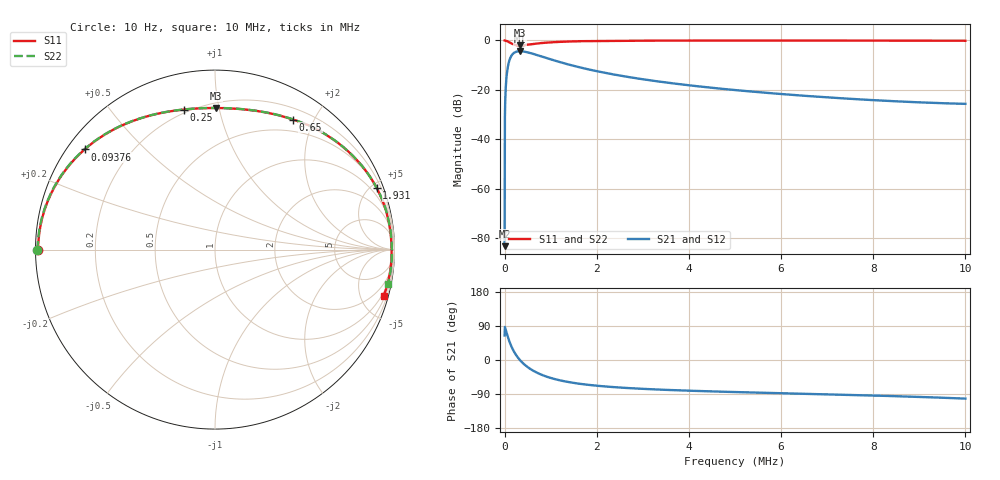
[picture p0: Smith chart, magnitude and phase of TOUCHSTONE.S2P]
!Keysight Technologies,E5061B,MY49912438,B.06.30
!Date: Fri Nov 07 00:14:42 2025
!Data & Calibration Information:
!Freq	S11:SOLT2(ON)	S21:SOLT2(ON)	S12:SOLT2(ON)	S22:SOLT2(ON)
# Hz S RI R 50
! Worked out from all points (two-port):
!   1601 points, 10 Hz to 10 MHz, reference 50 ohm
!   highest |S21| = -4.45 dB at 337.5 kHz (marker M1); lowest = -83.3 dB at 10 Hz (marker M2)
!   |S21| within 3 dB of the highest: 117.3 kHz to 950.8 kHz (833.5 kHz wide, 156 % of centre)
!   lowest |S11| = -2.1 dB at 331.3 kHz (marker M3), VSWR 8.47, Z = 11.7 + j48.9 ohm
!   |S11| at or under -10 dB: nowhere
!   |S22| runs from -2.1 to -0.1 dB; largest |S21 - S12| = 0.0018
!   S11 on the Smith chart (normalised r, x): 10 Hz: 0.01, -0.00; 93.76 kHz: 0.05, +0.34; 250 kHz: 0.18, +0.78; 650 kHz: 0.34, +1.72; 1.931 MHz: 0.56, +5.39; 10 MHz: 0.72, -7.39
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10  -0.9884 -0.00147  2.93e-05 6.19e-05  1.66e-05 -0.000106  -0.9903 -0.00128
56259.94  -0.8754 0.3814  0.0952 0.2184  0.0957 0.2195  -0.8774 0.3817
68759.93  -0.8293 0.4482  0.1348 0.2495  0.1354 0.2506  -0.8313 0.4485
93759.91  -0.7265 0.558  0.2209 0.2883  0.2216 0.2894  -0.7286 0.5581
118759.9  -0.6198 0.6373  0.3058 0.2987  0.3068 0.2998  -0.622 0.6373
156259.8  -0.4687 0.7125  0.4157 0.2752  0.4167 0.2762  -0.471 0.7124
200009.8  -0.3169 0.7576  0.5074 0.2146  0.5086 0.2155  -0.3193 0.7577
250009.8  -0.1749 0.7802  0.5685 0.1305  0.5697 0.1314  -0.1775 0.7804
331259.7  0.005 0.7889  0.5989 0.000493  0.6004 0.00119  0.00216 0.7894
337509.7  0.0169 0.7889  0.5988 -0.00847  0.6004 -0.00781  0.0141 0.7893
481259.5  0.2443 0.7708  0.5486 -0.1676  0.5503 -0.1673  0.2409 0.7719
650009.3  0.4353 0.7246  0.449 -0.2613  0.4507 -0.2614  0.4314 0.7266
843759.2  0.5895 0.6576  0.3444 -0.2989  0.3458 -0.2994  0.585 0.6605
1068759  0.7087 0.5758  0.2536 -0.2991  0.2547 -0.2998  0.7041 0.5801
1337509  0.7996 0.4889  0.1806 -0.2788  0.1814 -0.2795  0.7949 0.4947
1668758  0.8673 0.4002  0.1242 -0.2477  0.1248 -0.2485  0.8626 0.4077
1931258  0.9011 0.3426  0.0953 -0.2247  0.0957 -0.2254  0.8966 0.3516
3337507  0.9696 0.1452  0.0304 -0.1432  0.0306 -0.1438  0.9673 0.162
5000005  0.9838 0.014  0.00925 -0.0977  0.0093 -0.0982  0.9843 0.04
6668753  0.9805 -0.0835  0.000461 -0.0734  0.000453 -0.0737  0.9852 -0.0468
8337502  0.9664 -0.1706  -0.00508 -0.0589  -0.00512 -0.0592  0.9781 -0.1211
1e7  0.9401 -0.2566  -0.0106 -0.0505  -0.0107 -0.0508  0.9639 -0.1912
